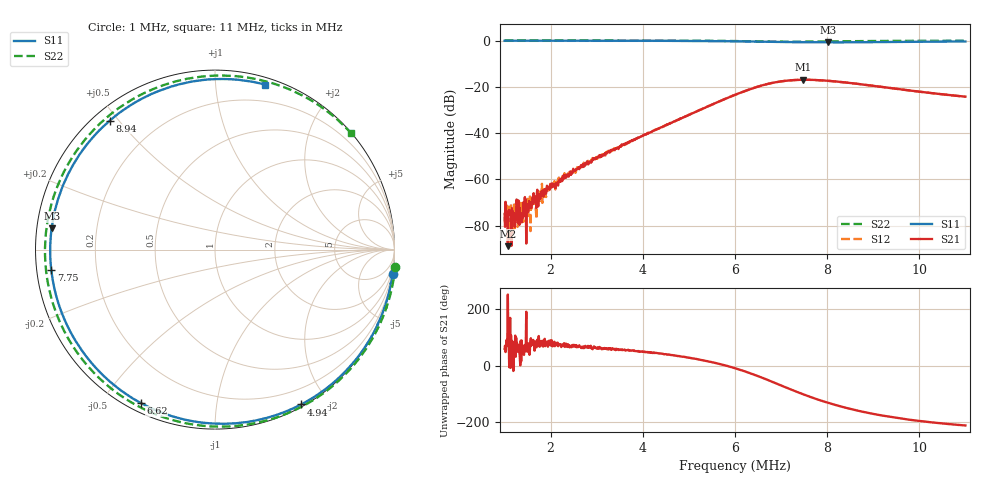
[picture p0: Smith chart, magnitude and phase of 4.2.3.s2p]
# MHz S DB R 50
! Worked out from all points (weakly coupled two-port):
!   1001 points, 1 MHz to 11 MHz, reference 50 ohm
!   highest |S21| = -16.91 dB at 7.47 MHz (marker M1); lowest = -88.9 dB at 1.07 MHz (marker M2)
!   lowest |S11| = -0.7 dB at 8.02 MHz (marker M3), VSWR 23.32, Z = 2.15 + j3.23 ohm
!   |S11| at or under -10 dB: nowhere
!   |S22| runs from -0.5 to 0.1 dB; largest |S21 - S12| = 0.0026
!   S11 on the Smith chart (normalised r, x): 1 MHz: 0, -14; 4.94 MHz: 0.02, -1.70; 6.62 MHz: 0.04, -0.63; 7.75 MHz: 0.04, -0.06; 8.94 MHz: 0.05, +0.47; 11 MHz: 0.06, +1.35
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1  -0.01 -7.9  -74.91 59.3  -78.21 126.5  0.08 -5.6
1.07  -0.01 -8.6  -88.87 -108.1  -76.96 106.8  0.08 -6.1
1.19  -0.01 -9.7  -74.15 -19.2  -72.76 61.5  0.08 -6.9
1.31  -0.01 -10.8  -71.83 64.4  -69.76 33.1  0.07 -7.7
1.37  -0.01 -11.3  -78.60 88.8  -70.64 72.2  0.08 -8.1
1.66  -0.01 -14.1  -69.65 67.7  -66.30 78.6  0.07 -10.2
1.97  -0.02 -17.1  -64.22 73.7  -63.98 79.7  0.07 -12.6
2.67  -0.01 -24.6  -54.24 66.8  -54.72 65.6  0.08 -18.6
4.34  -0.07 -48.5  -38.00 43.5  -38.06 44.1  0.05 -41.3
4.94  -0.11 -60.8  -32.69 29.1  -32.64 30.8  0.01 -55.7
5.49  -0.18 -74.9  -27.73 12.3  -27.73 13.2  -0.06 -75.1
6  -0.28 -91.2  -23.42 -9.5  -23.43 -8.4  -0.18 -101.8
6.31  -0.36 -102.9  -21.10 -26.0  -21.10 -25.1  -0.28 -123.5
6.62  -0.45 -115.9  -19.18 -45.1  -19.17 -44.2  -0.39 -149.1
7.02  -0.58 -134.8  -17.55 -71.9  -17.55 -70.9  -0.48 175.0
7.47  -0.69 -158.0  -16.91 -101.3  -16.92 -100.3  -0.45 138.0
7.67  -0.72 -168.8  -16.96 -113.2  -16.96 -112.2  -0.41 124.1
7.75  -0.73 -173.0  -17.02 -117.7  -17.01 -116.7  -0.40 119.1
8.02  -0.75 172.6  -17.36 -132.0  -17.35 -131.0  -0.34 104.1
8.94  -0.65 129.2  -19.38 -169.4  -19.39 -168.4  -0.17 71.0
9.34  -0.58 114.2  -20.40 178.8  -20.40 179.9  -0.13 62.1
11  -0.35 73.0  -24.22 147.7  -24.24 148.6  -0.02 40.5
